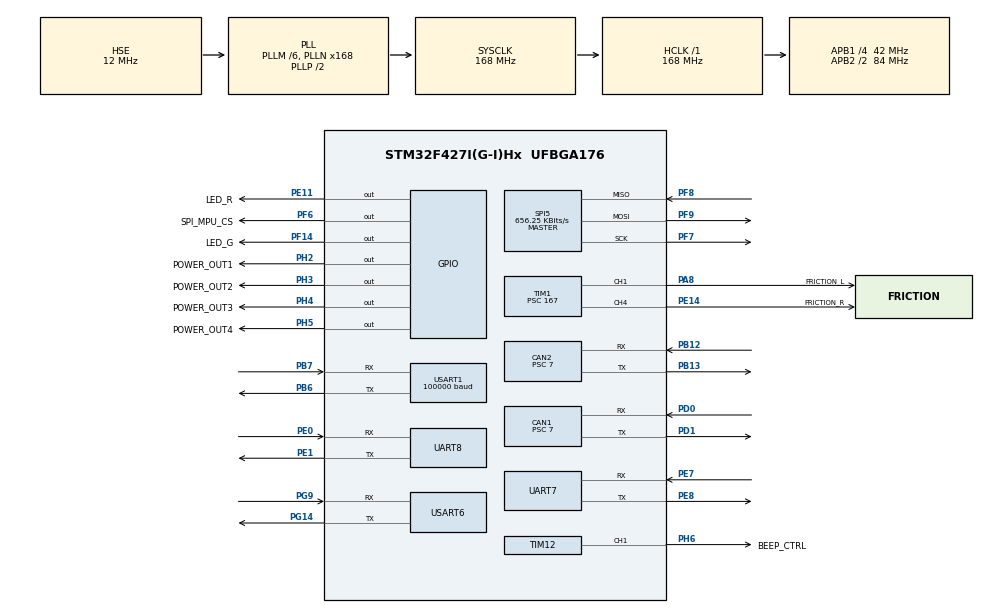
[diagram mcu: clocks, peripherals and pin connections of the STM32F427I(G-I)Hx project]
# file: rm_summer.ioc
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CAN1.BS1=CAN_BS1_2TQ
CAN1.BS2=CAN_BS2_3TQ
CAN1.CalculateTimeQuantum=166.66666666666669
CAN1.NART=ENABLE
CAN1.Prescaler=7
CAN1.TXFP=ENABLE
CAN2.BS1=CAN_BS1_2TQ
CAN2.BS2=CAN_BS2_3TQ
CAN2.CalculateTimeQuantum=166.66666666666669
CAN2.NART=ENABLE
CAN2.Prescaler=7
CAN2.TXFP=ENABLE
Mcu.Family=STM32F4
Mcu.Name=STM32F427I(G-I)Hx
Mcu.Package=UFBGA176
NVIC.CAN1_RX0_IRQn=true\:0\:0\:false\:false\:true\:true\:true
NVIC.CAN1_RX1_IRQn=true\:0\:0\:false\:false\:true\:true\:true
NVIC.CAN2_RX0_IRQn=true\:0\:0\:false\:false\:true\:true\:true
NVIC.CAN2_RX1_IRQn=true\:0\:0\:false\:false\:true\:true\:true
NVIC.PriorityGroup=NVIC_PRIORITYGROUP_4
NVIC.TIM6_DAC_IRQn=true\:1\:0\:true\:false\:true\:true\:true
NVIC.UART8_IRQn=true\:0\:0\:false\:false\:true\:true\:true
NVIC.USART1_IRQn=true\:0\:0\:false\:false\:true\:true\:true
NVIC.USART6_IRQn=true\:0\:0\:false\:false\:true\:true\:true
PA13.Mode=Serial_Wire
PA13.Signal=SYS_JTMS-SWDIO
PA14.Mode=Serial_Wire
PA14.Signal=SYS_JTCK-SWCLK
PA8.GPIO_Label=FRICTION_L
PA8.Signal=S_TIM1_CH1
PB12.Mode=Slave
PB12.Signal=CAN2_RX
PB13.Mode=Slave
PB13.Signal=CAN2_TX
PB6.Mode=Asynchronous
PB6.Signal=USART1_TX
PB7.Mode=Asynchronous
PB7.Signal=USART1_RX
PD0.Mode=Master
PD0.Signal=CAN1_RX
PD1.Mode=Master
PD1.Signal=CAN1_TX
PE0.Mode=Asynchronous
PE0.Signal=UART8_RX
PE1.Mode=Asynchronous
PE1.Signal=UART8_TX
PE11.GPIO_Label=LED_R
PE11.PinState=GPIO_PIN_SET
PE11.Signal=GPIO_Output
PE14.GPIO_Label=FRICTION_R
PE14.Signal=S_TIM1_CH4
PE7.Mode=Asynchronous
PE7.Signal=UART7_RX
PE8.Mode=Asynchronous
PE8.Signal=UART7_TX
PF14.GPIO_Label=LED_G
PF14.PinState=GPIO_PIN_SET
PF14.Signal=GPIO_Output
PF6.GPIO_Label=SPI_MPU_CS
PF6.PinState=GPIO_PIN_SET
PF6.Signal=GPIO_Output
PF7.Mode=Full_Duplex_Master
PF7.Signal=SPI5_SCK
PF8.Mode=Full_Duplex_Master
PF8.Signal=SPI5_MISO
PF9.Mode=Full_Duplex_Master
PF9.Signal=SPI5_MOSI
PG14.Mode=Asynchronous
PG14.Signal=USART6_TX
PG9.Mode=Asynchronous
PG9.Signal=USART6_RX
PH0/OSC_IN.Mode=HSE-External-Oscillator
PH0/OSC_IN.Signal=RCC_OSC_IN
PH1/OSC_OUT.Mode=HSE-External-Oscillator
PH1/OSC_OUT.Signal=RCC_OSC_OUT
PH2.GPIO_Label=POWER_OUT1
PH2.Signal=GPIO_Output
PH3.GPIO_Label=POWER_OUT2
PH3.Signal=GPIO_Output
PH4.GPIO_Label=POWER_OUT3
PH4.Signal=GPIO_Output
PH5.GPIO_Label=POWER_OUT4
PH5.Signal=GPIO_Output
PH6.GPIO_Label=BEEP_CTRL
PH6.Signal=S_TIM12_CH1
ProjectManager.HeapSize=0x200
ProjectManager.StackSize=0x400
ProjectManager.TargetToolchain=STM32CubeIDE
RCC.48MHZClocksFreq_Value=84000000
RCC.AHBFreq_Value=168000000
RCC.APB1CLKDivider=RCC_HCLK_DIV4
RCC.APB1Freq_Value=42000000
RCC.APB1TimFreq_Value=84000000
RCC.APB2CLKDivider=RCC_HCLK_DIV2
RCC.APB2Freq_Value=84000000
RCC.APB2TimFreq_Value=168000000
RCC.CortexFreq_Value=168000000
RCC.HCLKFreq_Value=168000000
RCC.HSE_VALUE=12000000
RCC.HSI_VALUE=16000000
RCC.LSE_VALUE=32768
RCC.PLLM=6
RCC.PLLN=168
RCC.PLLSourceVirtual=RCC_PLLSOURCE_HSE
RCC.SYSCLKFreq_VALUE=168000000
RCC.SYSCLKSource=RCC_SYSCLKSOURCE_PLLCLK
RCC.VCOOutputFreq_Value=336000000
SH.S_TIM12_CH1.0=TIM12_CH1,PWM Generation1 CH1
SH.S_TIM1_CH1.0=TIM1_CH1,PWM Generation1 CH1
SH.S_TIM1_CH4.0=TIM1_CH4,PWM Generation4 CH4
SPI5.BaudRatePrescaler=SPI_BAUDRATEPRESCALER_128
SPI5.CalculateBaudRate=656.25 KBits/s
SPI5.Direction=SPI_DIRECTION_2LINES
SPI5.Mode=SPI_MODE_MASTER
SPI5.VirtualType=VM_MASTER
TIM1.Channel-PWM\ Generation1\ CH1=TIM_CHANNEL_1
TIM1.Channel-PWM\ Generation4\ CH4=TIM_CHANNEL_4
TIM1.Period=20000-1
TIM1.Prescaler=167
TIM1.Pulse-PWM\ Generation1\ CH1=1000
TIM1.Pulse-PWM\ Generation4\ CH4=1000
TIM12.Channel-PWM\ Generation1\ CH1=TIM_CHANNEL_1
TIM12.Period=20000-1
TIM12.Prescaler=83
TIM6.Period=16800
TIM6.Prescaler=10-1
UART7.VirtualMode=Asynchronous
UART8.VirtualMode=Asynchronous
USART1.BaudRate=100000
USART1.Mode=MODE_TX_RX
USART1.Parity=PARITY_NONE
USART1.VirtualMode=VM_ASYNC
USART6.VirtualMode=VM_ASYNC
VP_TIM6_VS_ClockSourceINT.Mode=Enable_Timer
board=custom

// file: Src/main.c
/* USER CODE BEGIN Header */
/**
  ******************************************************************************
  * @file           : main.c
  * @brief          : Main program body
  ******************************************************************************
  * @attention
  *
  * <h2><center>&copy; Copyright (c) 2019 STMicroelectronics.
  * All rights reserved.</center></h2>
  *
  * This software component is licensed by ST under BSD 3-Clause license,
  * the "License"; You may not use this file except in compliance with the
  * License. You may obtain a copy of the License at:
  *                        opensource.org/licenses/BSD-3-Clause
  *
  ******************************************************************************
  */
/* USER CODE END Header */

#include "main.h"
#include "can.h"
#include "spi.h"
#include "tim.h"
#include "usart.h"
#include "gpio.h"

/* USER CODE BEGIN Includes */
#include "remote_controller.h"
#include "wheel.h"
#include "pid.h"
#include "motor.h"
#include "mecanum.h"
#include "disp.h"
#include "motor_fdb.h"
/* USER CODE END Includes */

/* USER CODE BEGIN PV */
/* Private variables ---------------------------------------------------------*/
__uint8_t rcData[18];
struct rc_info_t rc;
wheel_fdb_t wheelFdb[4];
uint8_t canRxData[8];
CAN_RxHeaderTypeDef canRxHeader;
motor_fdb gimbalYawFdb, gimbalPitchFdb, loadMotorFdb;
struct mecanum mecanum;
_pid_t wheelPID[4], loadPID;
float DBUFF[32];
/* USER CODE END PV */

void SystemClock_Config(void);
/* USER CODE BEGIN PFP */
/* Private function prototypes -----------------------------------------------*/
void timerTask();
void initPID();
void initMecanum();
void driveWheelTask();
void initFriction();
void initLoadPID();
/* USER CODE END PFP */

/* USER CODE BEGIN 0 */
void timerTask() { //call 500Hz
	int fire = 0;
	int16_t u[3];
	driveWheelTask();

	if (rc.sw2 == 1) {
		fire = 1;
	} else {
		fire = 0;
	}
	DBUFF[1] = loadPID.error = -900.0f*fire - loadMotorFdb.rpm;
	u[0] = 0;
	u[1] = 0;
	DBUFF[3] = u[2] = pidExecute(&loadPID);
	driveGimbalMotors(u);
}
/* USER CODE END 0 */

int main(void)
{

  /* MCU Configuration--------------------------------------------------------*/

  /* Reset of all peripherals, Initializes the Flash interface and the Systick. */
  HAL_Init();

  /* Configure the system clock */
  SystemClock_Config();

  /* Initialize all configured peripherals */
  MX_GPIO_Init();
  MX_TIM6_Init();
  MX_SPI5_Init();
  MX_CAN2_Init();
  MX_CAN1_Init();
  MX_TIM12_Init();
  MX_TIM1_Init();
  MX_USART1_UART_Init();
  MX_UART7_Init();
  MX_UART8_Init();
  MX_USART6_UART_Init();
  /* USER CODE BEGIN 2 */
  HAL_TIM_PWM_Start(&htim1, TIM_CHANNEL_1); // friction wheel
  HAL_TIM_PWM_Start(&htim1, TIM_CHANNEL_4);
  initFriction();
  initPID();
  initLoadPID();
  initCanFilter();
  initMecanum();
  HAL_UART_Receive_IT(&huart1, rcData, 18);
  HAL_TIM_Base_Start_IT(&htim6);
  setDispUartHandler(&huart7);
  HAL_CAN_Start(&hcan1);
  HAL_CAN_Start(&hcan2);
  HAL_CAN_ActivateNotification(&hcan1, CAN_IT_RX_FIFO0_MSG_PENDING);
  HAL_CAN_ActivateNotification(&hcan2, CAN_IT_RX_FIFO0_MSG_PENDING);
  HAL_GPIO_WritePin(POWER_OUT1_GPIO_Port, POWER_OUT1_Pin, 1);
  HAL_GPIO_WritePin(POWER_OUT2_GPIO_Port, POWER_OUT2_Pin, 1);
  HAL_GPIO_WritePin(POWER_OUT3_GPIO_Port, POWER_OUT3_Pin, 1);
  HAL_GPIO_WritePin(POWER_OUT4_GPIO_Port, POWER_OUT4_Pin, 1);
  /* USER CODE END 2 */

  /* Infinite loop */
  while (1)
  {

    /* USER CODE BEGIN 3 */
	  DBUFF[0] = rc.sw2;
	  //DBUFF[1] = gimbalPitchFdb.rpm;
	  DBUFF[2] = loadMotorFdb.rpm;

	  for (int i = 0; i < 4; i++) {
		  advancedDisp(DBUFF[i], 5);
		  string(",");
	  }
	  dnl();

  }
  /* USER CODE END 3 */
}

void SystemClock_Config(void)
{
  RCC_OscInitTypeDef RCC_OscInitStruct = {0};
  RCC_ClkInitTypeDef RCC_ClkInitStruct = {0};

  /** Configure the main internal regulator output voltage
  */
  __HAL_RCC_PWR_CLK_ENABLE();
  __HAL_PWR_VOLTAGESCALING_CONFIG(PWR_REGULATOR_VOLTAGE_SCALE1);
  /** Initializes the CPU, AHB and APB busses clocks
  */
  RCC_OscInitStruct.OscillatorType = RCC_OSCILLATORTYPE_HSE;
  RCC_OscInitStruct.HSEState = RCC_HSE_ON;
  RCC_OscInitStruct.PLL.PLLState = RCC_PLL_ON;
  RCC_OscInitStruct.PLL.PLLSource = RCC_PLLSOURCE_HSE;
  RCC_OscInitStruct.PLL.PLLM = 6;
  RCC_OscInitStruct.PLL.PLLN = 168;
  RCC_OscInitStruct.PLL.PLLP = RCC_PLLP_DIV2;
  RCC_OscInitStruct.PLL.PLLQ = 4;
  if (HAL_RCC_OscConfig(&RCC_OscInitStruct) != HAL_OK)
  {
    Error_Handler();
  }
  /** Initializes the CPU, AHB and APB busses clocks
  */
  RCC_ClkInitStruct.ClockType = RCC_CLOCKTYPE_HCLK|RCC_CLOCKTYPE_SYSCLK
                              |RCC_CLOCKTYPE_PCLK1|RCC_CLOCKTYPE_PCLK2;
  RCC_ClkInitStruct.SYSCLKSource = RCC_SYSCLKSOURCE_PLLCLK;
  RCC_ClkInitStruct.AHBCLKDivider = RCC_SYSCLK_DIV1;
  RCC_ClkInitStruct.APB1CLKDivider = RCC_HCLK_DIV4;
  RCC_ClkInitStruct.APB2CLKDivider = RCC_HCLK_DIV2;

  if (HAL_RCC_ClockConfig(&RCC_ClkInitStruct, FLASH_LATENCY_5) != HAL_OK)
  {
    Error_Handler();
  }
}

/* USER CODE BEGIN 4 */
void HAL_TIM_PeriodElapsedCallback(TIM_HandleTypeDef *htim) {

	static int cnt = 0;
	static long unsigned int c = 0;
	c++;
	if (htim->Instance == htim6.Instance) {//500Hz
		timerTask();
		cnt++;
		if (cnt >= 500) {//1Hz
			HAL_GPIO_TogglePin(LED_G_GPIO_Port, LED_G_Pin);
			cnt = 0;
		}
	}
}

void HAL_UART_RxCpltCallback(UART_HandleTypeDef *UartHandle) {
	if (UartHandle->Instance == huart1.Instance) {	//Propo-receive Interrupts
		HAL_UART_Receive_IT(&huart1, rcData, 18);
		//HAL_GPIO_TogglePin(LED_R_GPIO_Port, LED_R_Pin);
		rc.ch1 = (((rcData[1] & 0x07) << 8) | rcData[0]);
		rc.ch1 -= 1024;
		rc.ch2 = (((rcData[2] & 0x3F) << 5) | (rcData[1] >> 3));
		rc.ch2 -= 1024;
		rc.ch3 = (((rcData[4] & 0x01) << 10) | (rcData[3] << 2)
				| (rcData[2] >> 6));
		rc.ch3 -= 1024;
		rc.ch4 = (((rcData[5] & 0x0F) << 7) | (rcData[4] >> 1));
		rc.ch4 -= 1024;
		rc.sw1 = ((rcData[5] & 0x30) >> 4);
		rc.sw2 = ((rcData[5] & 0xC0) >> 6);
	}
}

//can fifo0 receive interrupt
void HAL_CAN_RxFifo0MsgPendingCallback(CAN_HandleTypeDef *hcan) {
	/* Get RX message */
	if (hcan->Instance == hcan2.Instance) {// can2 bus receive interrupt
		HAL_CAN_GetRxMessage(hcan, CAN_RX_FIFO0, &canRxHeader, canRxData);
		//check ESC identifier
		int id = canRxHeader.StdId - 513;

		wheelFdb[id].angle = canRxData[0] * 256 + canRxData[1];
		wheelFdb[id].rpm = canRxData[2] * 256 + canRxData[3];
		wheelFdb[id].torque = canRxData[4] * 256 + canRxData[5];
		wheelFdb[id].temp = canRxData[6];
		wheelFdb[id].omg = 6.28318530718 * (wheelFdb[id].rpm) / 1140.0;
	}
	if (hcan->Instance == hcan1.Instance) {// can1 bus receive interrupt
		HAL_CAN_GetRxMessage(hcan, CAN_RX_FIFO0, &canRxHeader, canRxData);
		motor_fdb *fdb = 0;
		switch (canRxHeader.StdId) {
		case 0x205:
			fdb = &gimbalYawFdb;
			break;
		case 0x206:
			fdb = &gimbalPitchFdb;
			break;
		case 0x207:
			fdb = &loadMotorFdb;
			break;
		}
		fdb->angle = canRxData[0] * 256 + canRxData[1];
		fdb->rpm = canRxData[2] * 256 + canRxData[3];
		fdb->torque = canRxData[4] * 256 + canRxData[5];
		fdb->temp = canRxData[6];
		fdb->omg = 6.28318530718 * (fdb->rpm) / 1140.0;
	}
}

void driveWheelTask() {

	mecanum.speed.vx = (float) rc.ch4 / 660 * MAX_CHASSIS_VX_SPEED;
	mecanum.speed.vy = -(float) rc.ch3 / 660 * MAX_CHASSIS_VX_SPEED;
	mecanum.speed.vw = -(float) rc.ch1 / 660 * MAX_CHASSIS_VW_SPEED;

	mecanum_calculate(&mecanum);

/*	DBUFF[0] = mecanum.wheel_rpm[0];
	DBUFF[1] = mecanum.wheel_rpm[1];
	DBUFF[2] = mecanum.wheel_rpm[2];
	DBUFF[3] = mecanum.wheel_rpm[3];*/

	int16_t u[4];
	for (int i = 0; i < 4; i++) {
		int error = mecanum.wheel_rpm[i] - wheelFdb[i].rpm;
		wheelPID[i].error = error;
		u[i] = (int16_t) pidExecute(&(wheelPID[i]));
	}
	driveWheel(u);
}

void initPID() {
	for (int i = 0; i < 4; i++) {
		wheelPID[i].t = 2.0f;
		wheelPID[i].p = 6.5f;
		wheelPID[i].i = 50.0f;
		wheelPID[i].d = 0.0f;
		wheelPID[i].outLimit = 15000.0f;
		wheelPID[i].integralOutLimit = 500.0f;
		wheelPID[i].differentialFilterRate = 0.9f;
	}
}

void initMecanum() {
	mecanum.param.wheel_perimeter = PERIMETER;
	mecanum.param.wheeltrack = WHEELTRACK;
	mecanum.param.wheelbase = WHEELBASE;
	mecanum.param.rotate_x_offset = 0;
	mecanum.param.rotate_y_offset = 0;
}

void initFriction() {
	__HAL_TIM_SET_COMPARE(&htim1, TIM_CHANNEL_1, 1500);
	__HAL_TIM_SET_COMPARE(&htim1, TIM_CHANNEL_4, 1500);
	HAL_Delay(3000);
	__HAL_TIM_SET_COMPARE(&htim1, TIM_CHANNEL_1, 1220);
	__HAL_TIM_SET_COMPARE(&htim1, TIM_CHANNEL_4, 1220);
	HAL_Delay(5000);
	for (int i = 1220; i < 1400; i++) {
		__HAL_TIM_SET_COMPARE(&htim1, TIM_CHANNEL_1, i);
		__HAL_TIM_SET_COMPARE(&htim1, TIM_CHANNEL_4, i);
		HAL_Delay(30);
	}
}

void initLoadPID() {
	loadPID.t = 2.0f;
	loadPID.p = 10.0f;
	loadPID.i = 0.1f*500;
	loadPID.d = 0.07f;
	loadPID.outLimit = 30000.0f;
	loadPID.integralOutLimit = 10000.0f;
	loadPID.differentialFilterRate = 0.9f;
}
/* USER CODE END 4 */

void Error_Handler(void)
{
  while(1)
  {
  }
}

/************************ (C) COPYRIGHT STMicroelectronics *****END OF FILE****/
